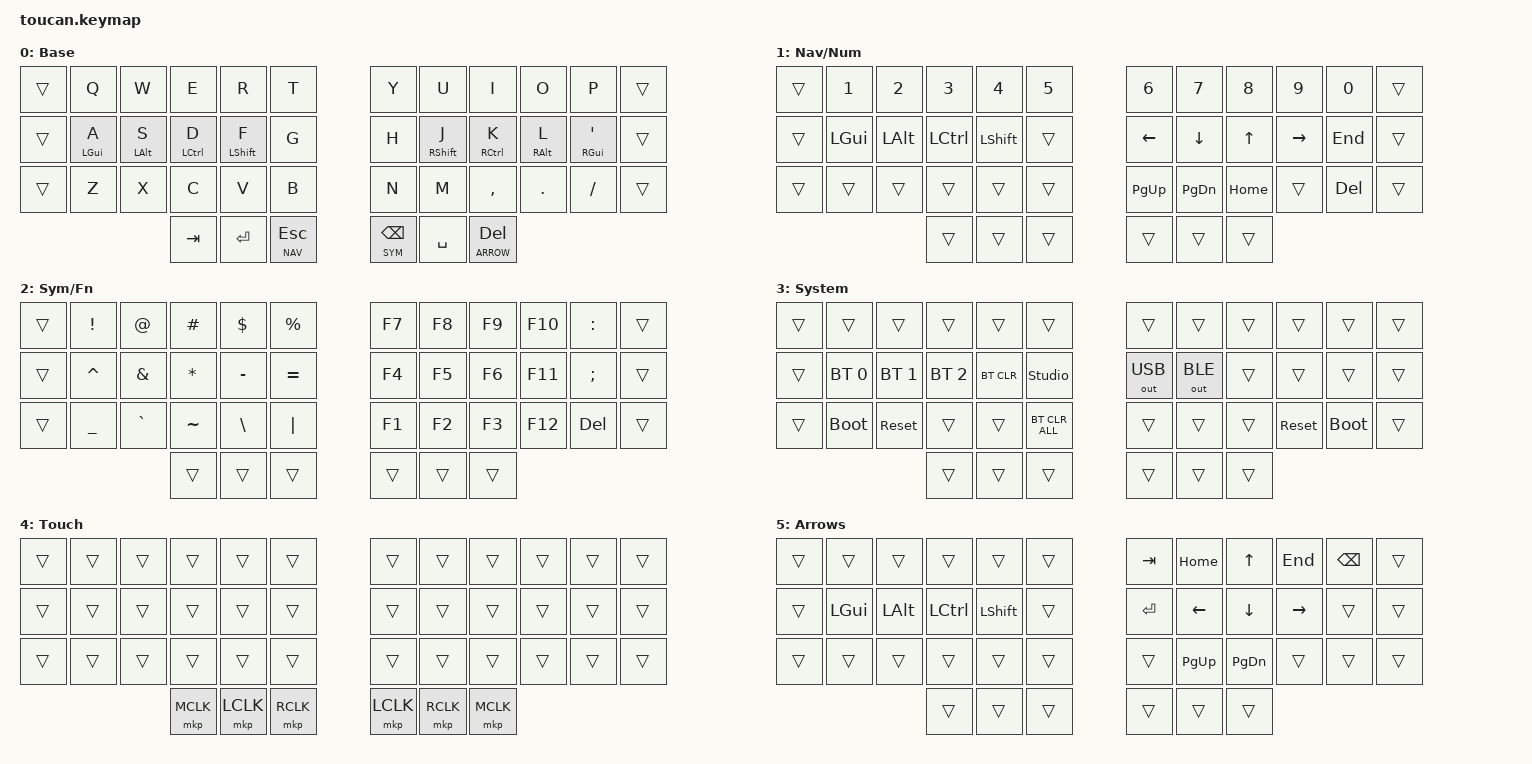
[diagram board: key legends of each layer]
/*
 * beekeeb Toucan2, 36-key build (3x5+3 + trackpad) — ZMK.
 * Ported 1:1 from mbastar/zmk-config-cornemini2 @ 3edd0a3 (config/corne.keymap).
 *
 * Why the port is nearly free: both boards are 42-slot keymap arrays with the
 * outer pinky columns unpopulated, and both have six thumb keys at positions
 * 36-41. So bindings, home-row-mod behaviors, and position-referenced combos
 * all carry over unchanged. Only the trackpad forces changes — see TRACKPAD.
 *
 * TRACKPAD (this is the whole delta from the Corne Mini):
 *   - toucan.dtsi's `is_touching_processor` fires `&mo 4` for as long as a finger
 *     is on the pad. Layer 4 is therefore NOT a toggled mouse layer here — it is
 *     a live "finger is down" layer, so everything on it must be `&trans` except
 *     the click keys. `&tog MOUSE` is gone from ADJ for the same reason.
 *   - `trackpad_listener`'s `scroller` node scrolls while layers <1 2> are active,
 *     i.e. while NAV or SYM is held. NAV=1 and SYM=2 here already — no change.
 *     Order matters: hold the thumb FIRST, then touch, or the thumb reads as a click.
 *   - Modifier-click (cmd-click, shift-click) needs a DELIBERATE hold on the
 *     home-row mod before touching. A trackpad click is not a key position, so
 *     `hold-trigger-key-positions` can't resolve the hold from the click; the
 *     mod only engages once the tapping term expires on its own (per-key terms
 *     in the behaviors block). `require-prior-idle-ms` also means you must pause
 *     briefly after typing (except A, which has no idle guard since 2026-09-10).
 *     This is the real cost of cross-hand HRMs on a trackpad board.
 *
 * HRM TUNING LOG: internal-systems/infrastructure/keyboards/toucan2/hrm-tuning.md
 *   in the vault — the verified hold-tap model, the tests, and what is deferred.
 */

#include <behaviors.dtsi>
#include <dt-bindings/zmk/bt.h>
#include <dt-bindings/zmk/keys.h>
#include <dt-bindings/zmk/outputs.h>
#include <dt-bindings/zmk/pointing.h>

#define DEF   0
#define NAV   1
#define SYM   2
#define ADJ   3
#define TOUCH 4   /* index is fixed: toucan.dtsi hardcodes `&mo 4` on touch */
#define ARROW 5

/* Layer-taps sit on BSPC (DEL's &ltarw carries its own quick-tap), which you sometimes want to hold to repeat.
   quick-tap-ms restores that: tap, then press-and-hold again within 200 ms and
   it repeats the tap instead of entering the layer.
   require-prior-idle-ms (2026-09-10): SYM sits on Backspace, which is pressed
   mid-typing constantly. With no idle guard the stock flavor commits to the
   layer on the next keypress and types a symbol instead of a letter. 100 ms =
   no layer inside a typing roll, still instant after any pause. */
&lt { quick-tap-ms = <200>; require-prior-idle-ms = <100>; };

/* 42-slot matrix; outer columns (0, 11, 12, 23, 24, 35) are unpopulated on the 36.
   Left:  0-5   12-17  24-29  thumbs 36 37 38
   Right: 6-11  18-23  30-35  thumbs 39 40 41 */

#define LEFT_KEYS   0 1 2 3 4 5 12 13 14 15 16 17 24 25 26 27 28 29
#define RIGHT_KEYS  6 7 8 9 10 11 18 19 20 21 22 23 30 31 32 33 34 35
#define LEFT_THUMB  36 37 38
#define RIGHT_THUMB 39 40 41

/ {
    behaviors {
        /* Home-row mods. Cross-hand only: a left-hand mod fires only if a RIGHT-hand
           key follows, which is what stops "df" turning into ctrl+d.

           Three tiers, tuned by how often the TAP character is typed -- not by
           which finger it is. Misfire risk scales with tap frequency; the cost of
           a hard hold scales with how often you need the mod. */

        /* Index (F J -> SHIFT; Ctrl split out to hmlc/hmrc 2026-09-28). Pressed mid-roll, so the hold
           has to be easy to get: shorter term, prior-idle 80 rather than 150
           because that guard was eating Shift right after a letter -- the
           "f/ instead of ?" failure. */
        hmli: home_row_mod_left_index {
            compatible = "zmk,behavior-hold-tap";
            #binding-cells = <2>;
            flavor = "balanced";
            tapping-term-ms = <200>;
            quick-tap-ms = <175>;
            require-prior-idle-ms = <80>;
            bindings = <&kp>, <&kp>;

            hold-trigger-key-positions = <RIGHT_KEYS RIGHT_THUMB>;
            hold-trigger-on-release;
        };

        hmri: home_row_mod_right_index {
            compatible = "zmk,behavior-hold-tap";
            #binding-cells = <2>;
            flavor = "balanced";
            tapping-term-ms = <200>;
            quick-tap-ms = <175>;
            require-prior-idle-ms = <80>;
            bindings = <&kp>, <&kp>;

            hold-trigger-key-positions = <LEFT_KEYS LEFT_THUMB>;
            hold-trigger-on-release;
        };

        /* Middle (D K -> CTRL), split out of hmli/hmri 2026-09-28. Balanced +
           hold-trigger-on-release has a release path: a cross-hand key pressed
           AND released while D is still down is a hold, whatever the term -- a
           lingering "do" became Ctrl-O. tap-preferred has no such path; Ctrl
           engages only when the term expires. Cost: every Ctrl (C-c, C-o, C-r)
           is a deliberate 200 ms hold. prior-idle 150 keeps D/K a plain tap
           inside a typing roll. Positional kept: moot for tap-preferred, harmless. */
        hmlc: home_row_mod_left_ctrl {
            compatible = "zmk,behavior-hold-tap";
            #binding-cells = <2>;
            flavor = "tap-preferred";
            tapping-term-ms = <200>;
            quick-tap-ms = <175>;
            require-prior-idle-ms = <150>;
            bindings = <&kp>, <&kp>;

            hold-trigger-key-positions = <RIGHT_KEYS RIGHT_THUMB>;
            hold-trigger-on-release;
        };

        hmrc: home_row_mod_right_ctrl {
            compatible = "zmk,behavior-hold-tap";
            #binding-cells = <2>;
            flavor = "tap-preferred";
            tapping-term-ms = <200>;
            quick-tap-ms = <175>;
            require-prior-idle-ms = <150>;
            bindings = <&kp>, <&kp>;

            hold-trigger-key-positions = <LEFT_KEYS LEFT_THUMB>;
            hold-trigger-on-release;
        };

        /* Ring + pinky (S ' -> ALT, GUI; L split out to hmra 2026-09-28). ALT stays fast because
           option-arrow and option-backspace are mid-flow editing gestures;
           ' stays fast because it is the only source of Cmd for every
           left-hand letter.

           2026-09-10: hml term 280 -> 350. For a balanced cross-hand mod the
           term only governs same-hand and solo holds -- the intended cross-hand
           chords resolve on interrupt and never see it. Word-initial "se" after
           a pause was crossing 280 ms before E released and firing Opt-E (the
           ´ dead key). hmr stays at 280 on purpose: L+E is cross-hand, so a
           longer term cannot help it, and ' is almost never solo-held. */
        hml: home_row_mod_left {
            compatible = "zmk,behavior-hold-tap";
            #binding-cells = <2>;
            flavor = "balanced";
            tapping-term-ms = <350>;
            quick-tap-ms = <175>;
            require-prior-idle-ms = <150>;
            bindings = <&kp>, <&kp>;

            hold-trigger-key-positions = <RIGHT_KEYS RIGHT_THUMB>;
            hold-trigger-on-release;
        };

        hmr: home_row_mod_right {
            compatible = "zmk,behavior-hold-tap";
            #binding-cells = <2>;
            flavor = "balanced";
            tapping-term-ms = <280>;
            quick-tap-ms = <175>;
            require-prior-idle-ms = <150>;
            bindings = <&kp>, <&kp>;

            hold-trigger-key-positions = <LEFT_KEYS LEFT_THUMB>;
            hold-trigger-on-release;
        };

        /* Right ring (L -> ALT), split out of hmr 2026-09-28 -- the same release
           path: "li" -> Opt-I (ˆ), "le" -> Opt-E (´). tap-preferred, so a
           right-hand Alt is a deliberate 200 ms hold. ' stays on balanced hmr:
           '+V is the designed fast paste. */
        hmra: home_row_mod_right_alt {
            compatible = "zmk,behavior-hold-tap";
            #binding-cells = <2>;
            flavor = "tap-preferred";
            tapping-term-ms = <200>;
            quick-tap-ms = <175>;
            require-prior-idle-ms = <150>;
            bindings = <&kp>, <&kp>;

            hold-trigger-key-positions = <LEFT_KEYS LEFT_THUMB>;
            hold-trigger-on-release;
        };

        /* Left pinky only (A -> GUI). tap-preferred resolves as HOLD only when the
           term actually expires, no matter what else is pressed -- so "an",
           "and", "man", "a " can no longer become Cmd-N or Cmd-Space. 'a' is ~8%
           of English letters, which is why this key needs the guard; ' is under
           0.3%, which is why the right pinky does not.

           2026-09-10 retune: the timer is this key's ONLY hold path, so the
           term is felt on every Cmd -- 200 not 280. require-prior-idle-ms
           150 -> 0: it turned A into an instant tap whenever paste followed
           typing ("xxav"), and tap-preferred already does the roll protection
           it was there for. Verified on the board: hold A past the term, tap V
           any time -> paste; positional does not downgrade a timer-decided
           hold. New exposure: an 'a' held 200 ms+ with any key pressed is Cmd.

           2026-09-11 round 2: that exposure fired in the wild -- hesitation
           on 'a' became Cmd. One change per the round cadence: term 200 -> 230.
           Every deliberate Cmd now takes 230 ms; nothing else moved. */
        hmlp: home_row_mod_left_pinky {
            compatible = "zmk,behavior-hold-tap";
            #binding-cells = <2>;
            flavor = "tap-preferred";
            tapping-term-ms = <230>;
            quick-tap-ms = <175>;
            require-prior-idle-ms = <0>;
            bindings = <&kp>, <&kp>;

            hold-trigger-key-positions = <RIGHT_KEYS RIGHT_THUMB>;
            hold-trigger-on-release;
        };

        /* Outer right thumb: tap DEL, hold ARROW (2026-09-28; replaced a duplicate
           SYM hold). Balanced, not &lt's tap-preferred default: a quick thumb+arrow
           chord must resolve to the layer, never DEL plus a letter. No prior-idle
           guard: arrows get reached for right after typing, and a guard would turn
           that into a forward-delete. quick-tap keeps DEL repeatable (tap, then hold). */
        ltarw: layer_tap_arrows {
            compatible = "zmk,behavior-hold-tap";
            #binding-cells = <2>;
            flavor = "balanced";
            tapping-term-ms = <200>;
            quick-tap-ms = <200>;
            bindings = <&mo>, <&kp>;
            display-name = "Del/Arrows";
        };

        caps: caps {
            compatible = "zmk,behavior-caps-word";
            #binding-cells = <0>;
            continue-list = <MINUS UNDERSCORE BACKSPACE>;
        };
    };

    conditional_layers {
        compatible = "zmk,conditional-layers";

        tri_layer {
            if-layers = <NAV SYM>;
            then-layer = <ADJ>;
        };
    };

    combos {
        compatible = "zmk,combos";

        screenshot {
            bindings = <&kp LG(LS(N4))>;
            key-positions = <1 25>;
            layers = <DEF>;
        }; /* Q + Z */
        dictation {
            bindings = <&kp F13>;
            key-positions = <32 33>;
            layers = <DEF>;
        }; /* , + . -> F13 (Raycast dictation). Deliberately not right-GUI:
              VoiceInk listens for a bare right-GUI tap, so every cross-hand Cmd
              from the `'` home-row mod flashed the dictation window. */
        lpar {
            bindings = <&kp LPAR>;
            key-positions = <4 5>;
            layers = <DEF>;
        }; /* R + T */
        rpar {
            bindings = <&kp RPAR>;
            key-positions = <6 7>;
            layers = <DEF>;
        }; /* Y + U */
        lbkt {
            bindings = <&kp LBKT>;
            key-positions = <16 17>;
            layers = <DEF>;
        }; /* F + G */
        rbkt {
            bindings = <&kp RBKT>;
            key-positions = <18 19>;
            layers = <DEF>;
        }; /* H + J */
        lbrc {
            bindings = <&kp LBRC>;
            key-positions = <28 29>;
            layers = <DEF>;
        }; /* V + B */
        rbrc {
            bindings = <&kp RBRC>;
            key-positions = <30 31>;
            layers = <DEF>;
        }; /* N + M */

        capsword {
            bindings = <&caps>;
            key-positions = <16 19>;
        };  /* F + J -> caps word (replaces the Shift key this board has no room for) */
        plus {
            bindings = <&kp PLUS>;
            key-positions = <16 17>;
            layers = <SYM>;
        };  /* SYM: - and = together -> +. `+` is otherwise unreachable by any
               gesture: `=` lives only on SYM, Shift lives only on DEF's home-row
               mods and NAV, and holding SYM turns the F/Shift key into `-`.
               Scoped to SYM so F+G on base is still `[`. Known risk: typing `-=`
               fast. Fix is `timeout-ms = <30>;` here, NOT require-prior-idle-ms. */
        del {
            bindings = <&kp DEL>;
            key-positions = <27 28>;
        };  /* C + V -> DEL. "cv" is in no English word; the V overlap with V+B
               resolves on which keys are actually down. */
    };

    keymap {
        compatible = "zmk,keymap";

        DEF {
            display-name = "Base";

            // |  Q  |  W  |  E  |  R  |  T  |   |  Y  |  U  |  I  |  O  |  P  |
            // |  A  |  S  |  D  |  F  |  G  |   |  H  |  J  |  K  |  L  |  '  |  home-row mods
            // |  Z  |  X  |  C  |  V  |  B  |   |  N  |  M  |  ,  |  .  |  /  |
            //         | TAB | ENT | ESC/NAV |   | BSPC/SYM | SPC | DEL/ARW |

            bindings = <
&trans  &kp Q         &kp W        &kp E          &kp R          &kp T          &kp Y         &kp U          &kp I          &kp O        &kp P          &trans
&trans  &hmlp LGUI A  &hml LALT S  &hmlc LCTRL D  &hmli LSHFT F  &kp G          &kp H         &hmri RSHFT J  &hmrc RCTRL K  &hmra RALT L  &hmr RGUI SQT  &trans
&trans  &kp Z         &kp X        &kp C          &kp V          &kp B          &kp N         &kp M          &kp COMMA      &kp DOT      &kp FSLH       &trans
                                   &kp TAB        &kp RET        &lt NAV ESC    &lt SYM BSPC  &kp SPACE      &ltarw ARROW DEL
            >;
        };

        NAV {
            display-name = "Nav/Num";

            // |  1  |  2  |  3  |  4  |  5  |   |  6  |  7   |  8   |  9  |  0  |
            // | GUI | ALT | CTL | SFT |     |   |  <- |  v   |  ^   |  -> | END |
            // |     |     |     |     |     |   | PGUP| PGDN | HOME |     | DEL |
            //   Holding this layer also turns the trackpad into a scroll surface.

            bindings = <
&trans  &kp N1    &kp N2    &kp N3     &kp N4     &kp N5    &kp N6     &kp N7     &kp N8    &kp N9     &kp N0   &trans
&trans  &kp LGUI  &kp LALT  &kp LCTRL  &kp LSHFT  &trans    &kp LEFT   &kp DOWN   &kp UP    &kp RIGHT  &kp END  &trans
&trans  &trans    &trans    &trans     &trans     &trans    &kp PG_UP  &kp PG_DN  &kp HOME  &trans     &kp DEL  &trans
                            &trans     &trans     &trans    &trans     &trans     &trans
            >;
        };

        SYM {
            display-name = "Sym/Fn";

            // |  !  |  @  |  #  |  $  |  %  |   | F7 | F8 | F9 | F10 |  :  |
            // |  ^  |  &  |  *  |  -  |  =  |   | F4 | F5 | F6 | F11 |  ;  |
            // |  _  |  `  |  ~  |  \  | "|" |   | F1 | F2 | F3 | F12 | DEL |
            //   combo: - + =  ->  +     |     also a trackpad scroll layer

            bindings = <
&trans  &kp EXCL   &kp AT     &kp HASH   &kp DLLR   &kp PRCNT    &kp F7  &kp F8  &kp F9  &kp F10  &kp COLON  &trans
&trans  &kp CARET  &kp AMPS   &kp ASTRK  &kp MINUS  &kp EQUAL    &kp F4  &kp F5  &kp F6  &kp F11  &kp SEMI   &trans
&trans  &kp UNDER  &kp GRAVE  &kp TILDE  &kp BSLH   &kp PIPE     &kp F1  &kp F2  &kp F3  &kp F12  &kp DEL    &trans
                              &trans     &trans     &trans       &trans  &trans  &trans
            >;
        };

        ADJ {
            display-name = "System";

            // reached by holding NAV + SYM together (conditional layer)
            // |     |     |     |     |        |   |     |     |     |      |      |
            // | BT0 | BT1 | BT2 |BTCLR| STUDIO |   | USB | BLE |     |      |      |
            // | BOOT|RESET|     |     |BTCLRA  |   |     |     |     |RESET | BOOT |
            //
            // &bootloader / &sys_reset are SOURCE-SPECIFIC on a split: each only
            // affects the half it is physically pressed on, so both halves need
            // their own. (Combos are the exception -- a combo always fires on the
            // central/left half, so a combo cannot recover the right half.)
            //
            // &out USB/BLE closes the endpoint-mismatch gap: if the board is on
            // both USB and BLE, ZMK Studio only connects on the matching endpoint.

            bindings = <
&trans  &trans        &trans        &trans        &trans      &trans            &trans         &trans         &trans  &trans      &trans       &trans
&trans  &bt BT_SEL 0  &bt BT_SEL 1  &bt BT_SEL 2  &bt BT_CLR  &studio_unlock    &out OUT_USB   &out OUT_BLE   &trans  &trans      &trans       &trans
&trans  &bootloader   &sys_reset    &trans        &trans      &bt BT_CLR_ALL    &trans         &trans         &trans  &sys_reset  &bootloader  &trans
                                    &trans        &trans      &trans            &trans         &trans         &trans
            >;
        };

        TOUCH {
            display-name = "Touch";

            // Live while a finger is on the trackpad (toucan.dtsi -> `&mo 4`).
            // Everything must stay &trans so typing still falls through to base;
            // only the thumbs become clicks. Right thumbs are the ones under the
            // clicking hand, so LCLK sits on the inner right thumb.

            bindings = <
&trans  &trans  &trans  &trans     &trans     &trans        &trans     &trans     &trans     &trans  &trans  &trans
&trans  &trans  &trans  &trans     &trans     &trans        &trans     &trans     &trans     &trans  &trans  &trans
&trans  &trans  &trans  &trans     &trans     &trans        &trans     &trans     &trans     &trans  &trans  &trans
                        &mkp MCLK  &mkp LCLK  &mkp RCLK     &mkp LCLK  &mkp RCLK  &mkp MCLK
            >;
        };

        ARROW {
            display-name = "Arrows";

            // Hold the outer right thumb (tap = DEL). Same-hand arrows in an inverted T;
            // plain mods on the left home row, so shift/opt/cmd-arrow skip HRM timing.
            // TAB / ENT / BSPC on the right for one-handed list and form driving.
            // Trial 2026-09-28: NAV keeps its arrows until this layer wins or loses.
            // |     |     |     |     |     |   | TAB | HOME |  UP  |  END  | BSPC |
            // | GUI | ALT | CTL | SFT |     |   | ENT | LEFT | DOWN | RIGHT |      |
            // |     |     |     |     |     |   |     | PGUP | PGDN |       |      |

            bindings = <
&trans  &trans    &trans    &trans     &trans     &trans    &kp TAB  &kp HOME   &kp UP     &kp END    &kp BSPC  &trans
&trans  &kp LGUI  &kp LALT  &kp LCTRL  &kp LSHFT  &trans    &kp RET  &kp LEFT   &kp DOWN   &kp RIGHT  &trans    &trans
&trans  &trans    &trans    &trans     &trans     &trans    &trans   &kp PG_UP  &kp PG_DN  &trans     &trans    &trans
                            &trans     &trans     &trans    &trans   &trans     &trans
            >;
        };

        /* Empty slots so ZMK Studio can hand out extra layers with no rebuild. */

        extra1 { status = "reserved"; };

        extra2 { status = "reserved"; };
    };
};
